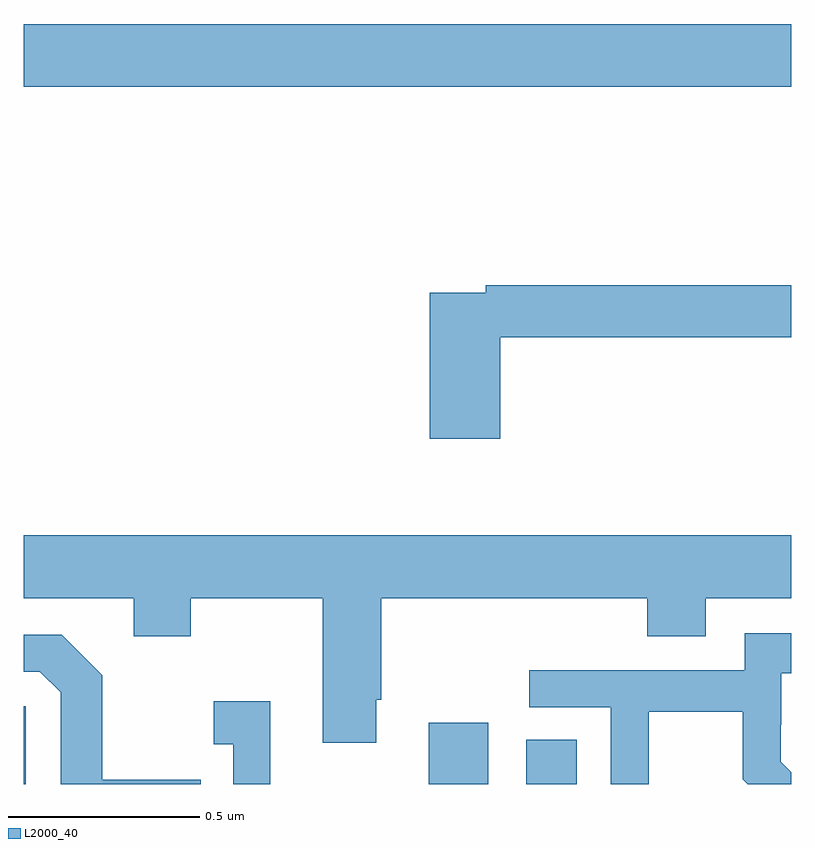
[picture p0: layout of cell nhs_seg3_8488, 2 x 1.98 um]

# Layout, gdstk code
import gdstk
lib = gdstk.Library(unit=1e-6, precision=1e-09)
def R(c, l, rs):  # rectangles x0, y0, x1, y1
    for r in rs: c.add(gdstk.rectangle(r[:2], r[2:], *l))
def P(c, l, *ps):  # polygons
    for p in ps: c.add(gdstk.Polygon(p, *l))
L2000_40 = (2000, 40)

nhs_seg3_8488 = lib.new_cell('nhs_seg3_8488')
R(nhs_seg3_8488, L2000_40, [(216,732.4,216.006,732.603), (217.055,732.4,217.21,732.559), (217.31,732.4,217.441,732.515), (216,734.216,218,734.38)])
P(nhs_seg3_8488, L2000_40, [(217.241,733.564),(218,733.564),(218,733.7),(217.204,733.7),(217.204,733.68),(217.058,733.68),(217.058,733.299),(217.241,733.299)],
  [(216.919,732.619),(216.932,732.619),(216.932,732.884),(217.625,732.884),(217.625,732.785),(217.777,732.785),(217.777,732.884),(218,732.884),(218,733.048),(216,733.048),(216,732.884),(216.287,732.884),(216.287,732.785),(216.435,732.785),(216.435,732.884),(216.779,732.884),(216.779,732.507),(216.919,732.507)],
  [(217.629,732.588),(217.873,732.588),(217.873,732.413),(217.886,732.4),(218,732.4),(218,732.43),(217.972,732.458),(217.972,732.555),(217.974,732.555),(217.974,732.689),(218,732.689),(218,732.793),(217.878,732.793),(217.878,732.696),(217.317,732.696),(217.317,732.6),(217.53,732.6),(217.53,732.4),(217.629,732.4)],
  [(216.461,732.411),(216.205,732.411),(216.205,732.683),(216.099,732.789),(216,732.789),(216,732.693),(216.042,732.693),(216.096,732.639),(216.096,732.4),(216.461,732.4)],
  [(216.642,732.616),(216.495,732.616),(216.495,732.503),(216.546,732.503),(216.546,732.4),(216.642,732.4)])

lib.write_gds('nhs_seg3_8488.gds')
